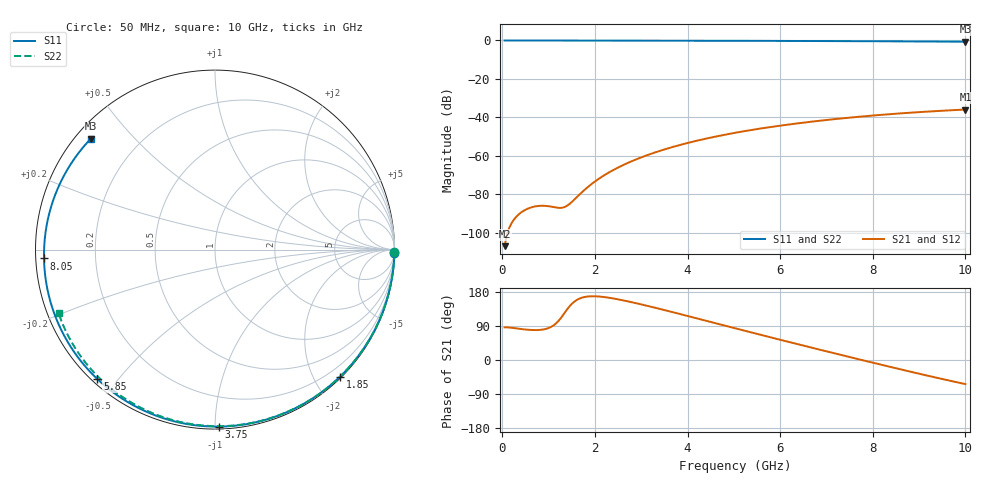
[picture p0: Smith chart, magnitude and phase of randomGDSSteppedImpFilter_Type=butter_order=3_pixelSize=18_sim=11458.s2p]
! freq	dB(S11)	phase(S11)	dB(S12)	phase(S12)
!  dB(S21)	phase(S21)	dB(S22)	phase(S22)
!S-par simulation data
#  GHz  S  DB  R 50
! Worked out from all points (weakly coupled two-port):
!   200 points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, 50 MHz to 10 GHz, reference 50 ohm
!   highest |S21| = -35.89 dB at 10 GHz (marker M1); lowest = -106.9 dB at 50 MHz (marker M2)
!   lowest |S11| = -0.7 dB at 10 GHz (marker M3), VSWR 26.63, Z = 2.15 + j19 ohm
!   |S11| at or under -10 dB: nowhere
!   |S22| runs from -0.5 to 0.0 dB; largest |S21 - S12| = 0
!   S11 on the Smith chart (normalised r, x): 50 MHz: 0, -92; 1.85 GHz: 0.02, -2.38; 3.75 GHz: 0.01, -1.02; 5.85 GHz: 0.02, -0.44; 8.05 GHz: 0.02, -0.03; 10 GHz: 0.04, +0.38
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0.05  -0.00 -1.2  -106.90 86.1  -106.90 86.1  -0.00 -0.9
0.4  -0.01 -10.0  -89.49 81.8  -89.49 81.8  -0.01 -7.3
0.8  -0.03 -20.0  -85.96 79.3  -85.96 79.3  -0.02 -14.5
1.2  -0.04 -29.9  -86.96 101.3  -86.96 101.3  -0.03 -21.7
1.65  -0.05 -40.8  -80.48 161.2  -80.48 161.2  -0.04 -29.7
1.75  -0.05 -43.2  -78.22 165.5  -78.22 165.5  -0.04 -31.5
1.85  -0.06 -45.6  -76.12 167.6  -76.12 167.6  -0.04 -33.2
2.15  -0.07 -52.7  -70.83 166.8  -70.83 166.8  -0.05 -38.5
2.5  -0.08 -60.8  -66.04 160.1  -66.04 160.1  -0.06 -44.5
2.9  -0.09 -69.9  -61.71 149.6  -61.71 149.6  -0.07 -51.3
3.4  -0.11 -81.1  -57.40 134.9  -57.40 134.9  -0.08 -59.7
3.75  -0.12 -88.7  -54.89 124.1  -54.89 124.1  -0.09 -65.5
4.4  -0.14 -102.5  -51.01 103.6  -51.01 103.6  -0.11 -75.9
5.05  -0.18 -116.0  -47.89 83.0  -47.89 83.0  -0.13 -86.1
5.85  -0.22 -132.2  -44.79 58.0  -44.79 58.0  -0.17 -98.2
6.7  -0.28 -149.3  -42.14 31.9  -42.14 31.9  -0.22 -110.7
7.4  -0.34 -163.5  -40.34 10.8  -40.34 10.8  -0.26 -120.8
8.05  -0.41 -177.0  -38.92 -8.6  -38.92 -8.6  -0.32 -130.0
8.35  -0.44 176.5  -38.34 -17.4  -38.34 -17.4  -0.34 -134.3
8.8  -0.49 166.6  -37.56 -30.5  -37.56 -30.5  -0.39 -140.6
9.2  -0.54 157.5  -36.94 -41.9  -36.94 -41.9  -0.43 -146.3
10  -0.65 138.2  -35.89 -63.6  -35.89 -63.6  -0.53 -157.8
